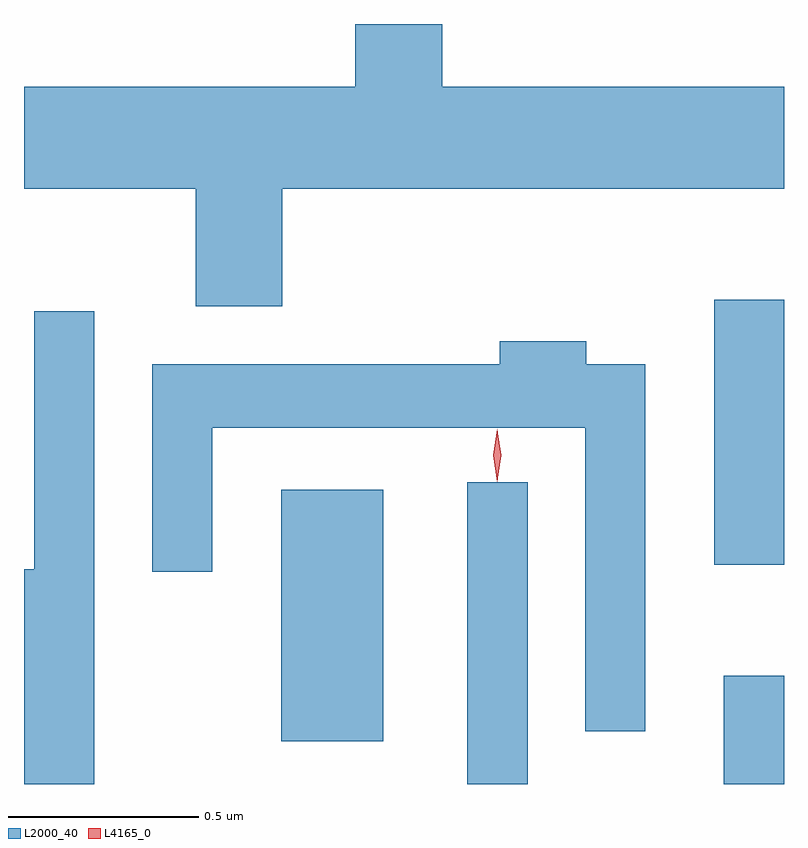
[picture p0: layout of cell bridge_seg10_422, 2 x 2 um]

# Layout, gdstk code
import gdstk
lib = gdstk.Library(unit=1e-6, precision=1e-09)
def R(c, l, rs):  # rectangles x0, y0, x1, y1
    for r in rs: c.add(gdstk.rectangle(r[:2], r[2:], *l))
def P(c, l, *ps):  # polygons
    for p in ps: c.add(gdstk.Polygon(p, *l))
L2000_40 = (2000, 40)
L4165_0 = (4165, 0)

bridge_seg10_422 = lib.new_cell('bridge_seg10_422')
R(bridge_seg10_422, L2000_40, [(1397.536,2114.569,1397.694,2115.363), (1398.211,2114.569,1398.369,2114.854), (1397.046,2114.681,1397.314,2115.344), (1398.186,2115.146,1398.369,2115.844)])
P(bridge_seg10_422, L2000_40, [(1397.049,2116.136),(1398.369,2116.136),(1398.369,2116.404),(1397.469,2116.404),(1397.469,2116.569),(1397.241,2116.569),(1397.241,2116.404),(1396.369,2116.404),(1396.369,2116.136),(1396.821,2116.136),(1396.821,2115.826),(1397.049,2115.826)],
  [(1396.554,2115.813),(1396.396,2115.813),(1396.396,2115.134),(1396.369,2115.134),(1396.369,2114.569),(1396.554,2114.569)],
  [(1398.004,2115.674),(1397.849,2115.674),(1397.849,2115.734),(1397.621,2115.734),(1397.621,2115.674),(1396.706,2115.674),(1396.706,2115.128),(1396.864,2115.128),(1396.864,2115.506),(1397.846,2115.506),(1397.846,2114.708),(1398.004,2114.708)])
P(bridge_seg10_422, L4165_0, [(1397.614,2115.367),(1397.605,2115.434),(1397.614,2115.5),(1397.615,2115.5),(1397.615,2115.5),(1397.625,2115.434),(1397.615,2115.367),(1397.615,2115.367)],
  [(1397.614,2115.364),(1397.614,2115.364),(1397.604,2115.434),(1397.614,2115.502),(1397.614,2115.503),(1397.615,2115.502),(1397.624,2115.434),(1397.615,2115.364)])

lib.write_gds('bridge_seg10_422.gds')
